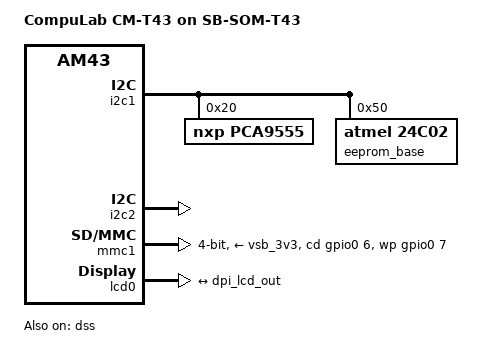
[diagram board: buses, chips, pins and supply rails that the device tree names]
// SPDX-License-Identifier: GPL-2.0-only
/*
 * Copyright (C) 2015 CompuLab, Ltd. - http://www.compulab.co.il/
 */

#include "am437x-cm-t43.dts"
#include "compulab-sb-som.dtsi"

/ {
	model = "CompuLab CM-T43 on SB-SOM-T43";
	compatible = "compulab,am437x-sbc-t43", "compulab,am437x-cm-t43", "ti,am4372", "ti,am43";

	aliases {
		display0 = &lcd0;
	};
};

&am43xx_pinmux {
	mmc1_pins: mmc1-pins {
		pinctrl-single,pins = <
			AM4372_IOPAD(0x900, PIN_INPUT_PULLUP | MUX_MODE0) /* mmc0_clk.mmc0_clk */
			AM4372_IOPAD(0x904, PIN_INPUT_PULLUP | MUX_MODE0) /* mmc0_cmd.mmc0_cmd */
			AM4372_IOPAD(0x8f0, PIN_INPUT_PULLUP | MUX_MODE0) /* mmc0_dat0.mmc0_dat0 */
			AM4372_IOPAD(0x8f4, PIN_INPUT_PULLUP | MUX_MODE0) /* mmc0_dat1.mmc0_dat1 */
			AM4372_IOPAD(0x8f8, PIN_INPUT_PULLUP | MUX_MODE0) /* mmc0_dat2.mmc0_dat2 */
			AM4372_IOPAD(0x8fc, PIN_INPUT_PULLUP | MUX_MODE0) /* mmc0_dat3.mmc0_dat3 */
			AM4372_IOPAD(0x960, PIN_INPUT | MUX_MODE7) /* spi0_cs1.gpio0_6 */
			AM4372_IOPAD(0x964, PIN_INPUT | MUX_MODE7) /* ecap0_in_pwm0_out.gpio0_7 */
		>;
	};

	dss_pinctrl_default: dss-pinctrl-default-pins {
		pinctrl-single,pins = <
			AM4372_IOPAD(0x9b0, PIN_OUTPUT_PULLUP | MUX_MODE2) /* cam0 hd -> DSS DATA 23 */
			AM4372_IOPAD(0x9b4, PIN_OUTPUT_PULLUP | MUX_MODE2)
			AM4372_IOPAD(0x9b8, PIN_OUTPUT_PULLUP | MUX_MODE2)
			AM4372_IOPAD(0x9bc, PIN_OUTPUT_PULLUP | MUX_MODE2)
			AM4372_IOPAD(0x9c0, PIN_OUTPUT_PULLUP | MUX_MODE2)
			AM4372_IOPAD(0x9c4, PIN_OUTPUT_PULLUP | MUX_MODE2)
			AM4372_IOPAD(0x9c8, PIN_OUTPUT_PULLUP | MUX_MODE2)
			AM4372_IOPAD(0x9cc, PIN_OUTPUT_PULLUP | MUX_MODE2) /* cam1 data 9 -> DSS DATA 16 */

			AM4372_IOPAD(0x8a0, PIN_OUTPUT_PULLUP | MUX_MODE0) /* DSS DATA 0 */
			AM4372_IOPAD(0x8a4, PIN_OUTPUT_PULLUP | MUX_MODE0)
			AM4372_IOPAD(0x8a8, PIN_OUTPUT_PULLUP | MUX_MODE0)
			AM4372_IOPAD(0x8ac, PIN_OUTPUT_PULLUP | MUX_MODE0)
			AM4372_IOPAD(0x8b0, PIN_OUTPUT_PULLUP | MUX_MODE0)
			AM4372_IOPAD(0x8b4, PIN_OUTPUT_PULLUP | MUX_MODE0)
			AM4372_IOPAD(0x8b8, PIN_OUTPUT_PULLUP | MUX_MODE0)
			AM4372_IOPAD(0x8bc, PIN_OUTPUT_PULLUP | MUX_MODE0)
			AM4372_IOPAD(0x8c0, PIN_OUTPUT_PULLUP | MUX_MODE0)
			AM4372_IOPAD(0x8c4, PIN_OUTPUT_PULLUP | MUX_MODE0)
			AM4372_IOPAD(0x8c8, PIN_OUTPUT_PULLUP | MUX_MODE0)
			AM4372_IOPAD(0x8cc, PIN_OUTPUT_PULLUP | MUX_MODE0)
			AM4372_IOPAD(0x8d0, PIN_OUTPUT_PULLUP | MUX_MODE0)
			AM4372_IOPAD(0x8d4, PIN_OUTPUT_PULLUP | MUX_MODE0)
			AM4372_IOPAD(0x8d8, PIN_OUTPUT_PULLUP | MUX_MODE0)
			AM4372_IOPAD(0x8dc, PIN_OUTPUT_PULLUP | MUX_MODE0) /* DSS DATA 15 */
			AM4372_IOPAD(0x8e0, PIN_OUTPUT_PULLUP | MUX_MODE0) /* DSS VSYNC */
			AM4372_IOPAD(0x8e4, PIN_OUTPUT_PULLUP | MUX_MODE0) /* DSS HSYNC */
			AM4372_IOPAD(0x8e8, PIN_OUTPUT_PULLUP | MUX_MODE0) /* DSS PCLK */
			AM4372_IOPAD(0x8ec, PIN_OUTPUT_PULLUP | MUX_MODE0) /* DSS AC BIAS EN */
			AM4372_IOPAD(0xa20, PIN_OUTPUT_PULLUP | MUX_MODE7)
		>;
	};

	uart0_pins_default: uart0-default-pins {
		pinctrl-single,pins = <
			AM4372_IOPAD(0x968, DS0_PULL_UP_DOWN_EN | INPUT_EN | MUX_MODE0)
			AM4372_IOPAD(0x96C, DS0_PULL_UP_DOWN_EN | INPUT_EN | MUX_MODE0)
			AM4372_IOPAD(0x970, PIN_INPUT_PULLUP | SLEWCTRL_FAST | DS0_PULL_UP_DOWN_EN | MUX_MODE0) /* uart0_rxd.uart0_rxd */
			AM4372_IOPAD(0x974, PIN_INPUT | PULL_DISABLE | SLEWCTRL_FAST | DS0_PULL_UP_DOWN_EN | MUX_MODE0) /* uart0_txd.uart0_txd */
		>;
	};

	i2c1_pins: i2c1-pins {
		pinctrl-single,pins = <
			AM4372_IOPAD(0xa6c, PIN_INPUT_PULLUP | SLEWCTRL_FAST | MUX_MODE1)  /* spi2_cs0.i2c1_sda  */
			AM4372_IOPAD(0xa60, PIN_INPUT_PULLUP | SLEWCTRL_FAST | MUX_MODE1)  /* spi2_sclk.i2c1_scl */
		>;
	};

	i2c2_pins: i2c2-pins {
		pinctrl-single,pins = <
			AM4372_IOPAD(0x978, PIN_INPUT_PULLUP | SLEWCTRL_FAST | MUX_MODE3)  /* uart1_ctsn.i2c2_sda  */
			AM4372_IOPAD(0x97c, PIN_INPUT_PULLUP | SLEWCTRL_FAST | MUX_MODE3)  /* uart1_rtsn.i2c2_scl */
		>;
	};

	usb2_phy1_default: usb2-phy1-default-pins {
		pinctrl-single,pins = <
			AM4372_IOPAD(0xac0, DS0_PULL_UP_DOWN_EN | PIN_INPUT_PULLDOWN | MUX_MODE0)
		>;
	};

	usb2_phy2_default: usb2-phy2-default-pins {
		pinctrl-single,pins = <
			AM4372_IOPAD(0xac4, DS0_PULL_UP_DOWN_EN | PIN_INPUT_PULLDOWN | MUX_MODE0)
		>;
	};
};

&i2c1 {
	status = "okay";
	pinctrl-names = "default";
	pinctrl-0 = <&i2c1_pins>;

	pca9555: pca9555@20 {
		compatible = "nxp,pca9555";
		reg = <0x20>;
		gpio-controller;
		#gpio-cells = <2>;
	};

	eeprom_base: at24@50 {
		compatible = "atmel,24c02";
		reg = <0x50>;
		pagesize = <16>;
	};
};

&i2c2 {
	status = "okay";
	pinctrl-names = "default";
	pinctrl-0 = <&i2c2_pins>;
};

&mmc1 {
	status = "okay";
	bus-width = <4>;
	pinctrl-names = "default";
	pinctrl-0 = <&mmc1_pins>;
	vmmc-supply = <&vsb_3v3>;
	cd-gpios = <&gpio0 6 GPIO_ACTIVE_HIGH>;
	wp-gpios = <&gpio0 7 GPIO_ACTIVE_HIGH>;
};

&dss {
	status = "okay";

	pinctrl-names = "default";
	pinctrl-0 = <&dss_pinctrl_default>;

	port {
		dpi_lcd_out: endpoint {
			remote-endpoint = <&lcd_in>;
			data-lines = <24>;
		};
	};
};

&uart0 {
	pinctrl-names = "default";
	pinctrl-0 = <&uart0_pins_default>;
};

&dwc3_1 {
	pinctrl-names = "default";
	pinctrl-0 = <&usb2_phy1_default>;
};

&dwc3_2 {
	pinctrl-names = "default";
	pinctrl-0 = <&usb2_phy2_default>;
};

&lcd0 {
	enable-gpios = <&pca9555 14 GPIO_ACTIVE_HIGH
			&gpio4 28 GPIO_ACTIVE_HIGH>;

	port {
		lcd_in: endpoint {
			remote-endpoint = <&dpi_lcd_out>;
			data-lines = <24>;
		};
	};
};
